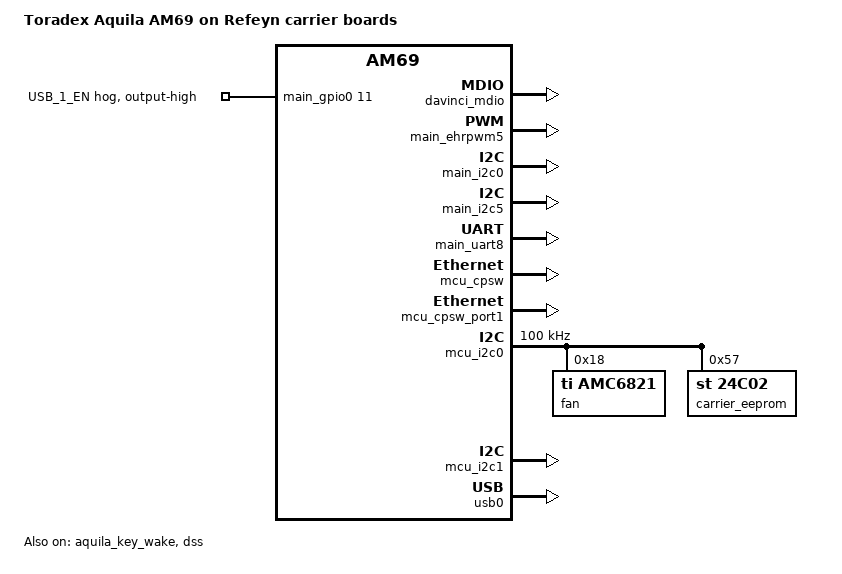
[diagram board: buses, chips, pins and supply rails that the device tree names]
// SPDX-License-Identifier: GPL-2.0-or-later OR MIT
/*
 * Copyright 2024 Toradex
 * Copyright 2025 Refeyn
 *
 * Device tree for Toradex Aquila AM69 SoM on Refeyn carriers
 */

/dts-v1/;

#include "k3-j784s4.dtsi"
#include "k3-am69-aquila.dtsi"

/ {
	model = "Toradex Aquila AM69 on Refeyn carrier boards";
	compatible = "toradex,aquila-am69-refeyn",
		     "toradex,aquila-am69",
		     "ti,j784s4";

	aliases {
		eeprom1 = &carrier_eeprom;
	};
};


&main_pmx0 {
	/* Aquila CAN_1 (Debug switches) */
	pinctrl_main_mcan10_gpio: main-mcan10-gpio-pins {
		pinctrl-single,pins = <
			J784S4_IOPAD(0x0b8, PIN_INPUT, 7)  /* (AC34) MCASP1_ACLKX.MCAN10_RX */ /* AQUILA B49 */
			J784S4_IOPAD(0x0b4, PIN_INPUT, 7)  /* (AL34) MCASP1_AXR4.MCAN10_TX  */ /* AQUILA B48 */
		>;
	};

	/* Aquila ETH_2_XGMII_MDIO (POWER_CONTROL) */
	pinctrl_pwr_control: pwr-control-gpio-pins {
		pinctrl-single,pins = <
			J784S4_IOPAD(0x058, PIN_INPUT, 7) /* (AE37) MCASP2_AFSX.GPIO0_22  */ /* AQUILA B90 */
			J784S4_IOPAD(0x0c0, PIN_INPUT, 7) /* (AD38) MCASP1_AXR0.GPIO0_48  */ /* AQUILA B90 */
		>;
	};
};

&wkup_pmx2 {
	/* Aquila CAN_2 (Debug switches) */
	pinctrl_mcu_mcan0_gpio: mcu-mcan0-gpio-pins {
		pinctrl-single,pins = <
			J784S4_WKUP_IOPAD(0x054, PIN_INPUT, 7)  /* (F38) MCU_MCAN0_RX  */ /* AQUILA B51 */
			J784S4_WKUP_IOPAD(0x050, PIN_INPUT, 7)  /* (K33) MCU_MCAN0_TX  */ /* AQUILA B50 */
		>;
	};
};

/* Aquila CTRL_PWR_BTN_MICO# */
&aquila_key_power {
	status = "okay";
};

/* Aquila CTRL_WAKE1_MICO# */
&aquila_key_wake {
	status = "okay";
};

/* On-module ETH_1 MDIO */
&davinci_mdio {
	status = "okay";
};

&dss {
	status = "okay";
};

/* Aquila PWM_3_DSI */
&main_ehrpwm5 {
	status = "okay";
};

&main_gpio0 {
	pinctrl-names = "default";
	pinctrl-0 = <&pinctrl_usb1_en_gpio>, <&pinctrl_main_mcan10_gpio>, <&pinctrl_pwr_control>;

	/* USB_1_EN Driven by Power Delivery IC - must be driven high */
	usb1en-hog {
		gpio-hog;
		gpios = <11 GPIO_ACTIVE_HIGH>;
		output-high;
		line-name = "USB_1_EN";
	};
};

/* Aquila I2C_3_DSI1 */
&main_i2c0 {
	status = "okay";
};

/* Aquila I2C_6 */
&main_i2c5 {
	status = "okay";
};

/* Aquila UART_3, used as the Linux console */
&main_uart8 {
	status = "okay";
};

&mcu_cpsw {
	status = "okay";
};

/* On-module ETH_1 RGMII */
&mcu_cpsw_port1 {
	status = "okay";
};

/* Aquila I2C_1 */
&mcu_i2c0 {
	clock-frequency = <100000>;
	status = "okay";

	/* Fan controller */
	fan@18 {
		compatible = "ti,amc6821";
		reg = <0x18>;
	};

	/* EEPROM */
	carrier_eeprom: eeprom@57 {
		compatible = "st,24c02", "atmel,24c02";
		reg = <0x57>;
		pagesize = <16>;
	};
};

/* Aquila I2C_2 */
&mcu_i2c1 {
	status = "okay";
};

&usb0 {
	status = "okay";
};

&wkup_gpio0 {
	pinctrl-names = "default";
	pinctrl-0 = <&pinctrl_mcu_mcan0_gpio>;
};
